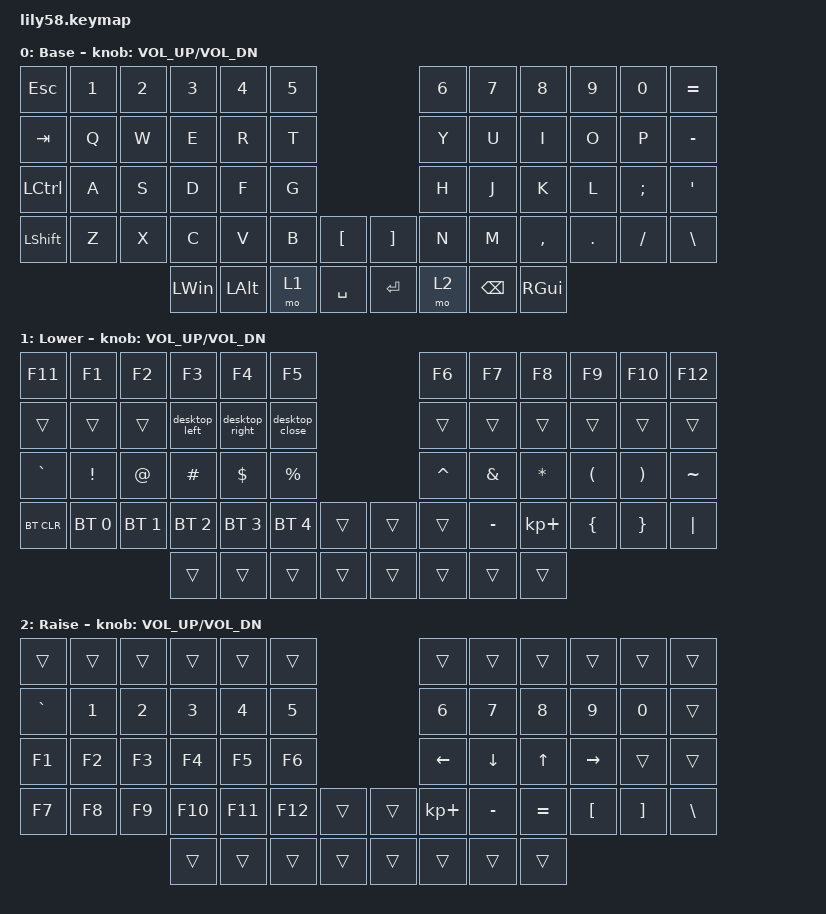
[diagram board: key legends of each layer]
/*
 * Copyright (c) 2020 The ZMK Contributors
 *
 * SPDX-License-Identifier: MIT
 */

#include <behaviors.dtsi>
#include <dt-bindings/zmk/bt.h>
#include <dt-bindings/zmk/keys.h>

/ {
    macros {
        desktop_left: desktop_left {
            compatible = "zmk,behavior-macro";
            #binding-cells = <0>;
            bindings =
                <&macro_press>,
                <&kp LCTRL &kp LGUI>,
                <&macro_tap>,
                <&kp LEFT>,
                <&macro_release>,
                <&kp LCTRL &kp LGUI>;
        };

        desktop_right: desktop_right {
            compatible = "zmk,behavior-macro";
            #binding-cells = <0>;
            bindings =
                <&macro_press>,
                <&kp LCTRL &kp LGUI>,
                <&macro_tap>,
                <&kp RIGHT>,
                <&macro_release>,
                <&kp LCTRL &kp LGUI>;
        };

        desktop_close: desktop_close {
            compatible = "zmk,behavior-macro";
            #binding-cells = <0>;
            bindings =
                <&macro_press>,
                <&kp LCTRL &kp LGUI>,
                <&macro_tap>,
                <&kp F4>,
                <&macro_release>,
                <&kp LCTRL &kp LGUI>;
        };
    };

    combos {
        compatible = "zmk,combos";

        delete {
            bindings = <&kp DELETE>;
            key-positions = <27 28>;
        };
    };

    keymap {
        compatible = "zmk,keymap";

        default_layer {
            // ------------------------------------------------------------------------------------------------------------
            // |  ESC  |  1  |  2  |  3   |  4   |  5   |                   |  6   |  7    |  8    |  9   |   0   |   `   |
            // |  TAB  |  Q  |  W  |  E   |  R   |  T   |                   |  Y   |  U    |  I    |  O   |   P   |   -   |
            // |  CTRL |  A  |  S  |  D   |  F   |  G   |                   |  H   |  J    |  K    |  L   |   ;   |   '   |
            // | SHIFT |  Z  |  X  |  C   |  V   |  B   |   "["  |  |  "]"  |  N   |  M    |  ,    |  .   |   /   | SHIFT |
            //                     | ALT  | GUI  | LOWER|  SPACE |  | ENTER | RAISE| BSPC  | GUI   |

            display-name = "Base";
            bindings = <
&kp ESC         &kp N1  &kp N2  &kp N3        &kp N4        &kp N5                         &kp N6  &kp N7    &kp N8     &kp N9   &kp N0    &kp EQUAL
&kp TAB         &kp Q   &kp W   &kp E         &kp R         &kp T                          &kp Y   &kp U     &kp I      &kp O    &kp P     &kp MINUS
&kp LCTRL  &kp A   &kp S   &kp D         &kp F         &kp G                          &kp H   &kp J     &kp K      &kp L    &kp SEMI  &kp SQT
&kp LEFT_SHIFT       &kp Z   &kp X   &kp C         &kp V         &kp B   &kp LBKT     &kp RBKT  &kp N   &kp M     &kp COMMA  &kp DOT  &kp FSLH  &kp BACKSLASH
                                &kp LEFT_WIN  &kp LEFT_ALT  &mo 1   &kp SPACE    &kp RET   &mo 2   &kp BSPC  &kp RGUI
            >;

            sensor-bindings = <&inc_dec_kp C_VOL_UP C_VOL_DN>;
        };

        lower_layer {
            // ------------------------------------------------------------------------------------------------------------
            // |  F11  |  F1 |  F2 |  F3  |  F4  |  F5  |                   |  F6  |  F7   |  F8   |  F9  |  F10  |  F12  |
            // |       |     |     |      |      |      |                   |      |       |       |      |       |       |
            // |   `   |  !  |  @  |  #   |  $   |  %   |                   |  ^   |   &   |  *    |  (   |   )   |   ~   |
            // | BTCLR | BT1 | BT2 |  BT3 |  BT4 |  BT5 |        |  |       |      |   _   |  +    |  {   |   }   |  "|"  |
            //                     |      |      |      |        |  |       |      |       |       |

            display-name = "Lower";
            bindings = <
&kp F11     &kp F1        &kp F2        &kp F3        &kp F4        &kp F5                          &kp F6     &kp F7     &kp F8       &kp F9    &kp F10   &kp F12
&trans      &trans        &trans        &desktop_left &desktop_right &desktop_close                  &trans     &trans     &trans       &trans    &trans    &trans
&kp GRAVE   &kp EXCL      &kp AT        &kp HASH      &kp DOLLAR    &kp PRCNT                       &kp CARET  &kp AMPS   &kp STAR     &kp LPAR  &kp RPAR  &kp TILDE
&bt BT_CLR  &bt BT_SEL 0  &bt BT_SEL 1  &bt BT_SEL 2  &bt BT_SEL 3  &bt BT_SEL 4  &trans    &trans  &trans     &kp MINUS  &kp KP_PLUS  &kp LBRC  &kp RBRC  &kp PIPE
                                        &trans        &trans        &trans        &trans    &trans  &trans     &trans     &trans
            >;

            sensor-bindings = <&inc_dec_kp C_VOL_UP C_VOL_DN>;
        };

        raise_layer {
            // ------------------------------------------------------------------------------------------------------------
            // |       |     |     |      |      |      |                   |      |       |       |      |       |       |
            // |   `   |  1  |  2  |  3   |  4   |  5   |                   |  6   |   7   |   8   |  9   |   0   |       |
            // |   F1  |  F2 |  F3 |  F4  |  F5  |  F6  |                   |      |   <-  |   v   |  ^   |  ->   |       |
            // |   F7  |  F8 |  F9 |  F10 |  F11 |  F12 |        |  |       |  +   |   -   |   =   |  [   |   ]   |   \   |
            //                     |      |      |      |        |  |       |      |       |       |

            display-name = "Raise";
            bindings = <
&trans     &trans  &trans  &trans   &trans   &trans                     &trans          &trans     &trans     &trans     &trans    &trans
&kp GRAVE  &kp N1  &kp N2  &kp N3   &kp N4   &kp N5                     &kp N6          &kp N7     &kp N8     &kp N9     &kp N0    &trans
&kp F1     &kp F2  &kp F3  &kp F4   &kp F5   &kp F6                     &kp LEFT_ARROW  &kp DOWN   &kp UP     &kp RIGHT  &trans    &trans
&kp F7     &kp F8  &kp F9  &kp F10  &kp F11  &kp F12  &trans    &trans  &kp KP_PLUS     &kp MINUS  &kp EQUAL  &kp LBKT   &kp RBKT  &kp BSLH
                           &trans   &trans   &trans   &trans    &trans  &trans          &trans     &trans
            >;

            sensor-bindings = <&inc_dec_kp C_VOL_UP C_VOL_DN>;
        };

        extra_1 { status = "reserved"; };

        extra_2 { status = "reserved"; };

        extra_3 { status = "reserved"; };
    };
};
